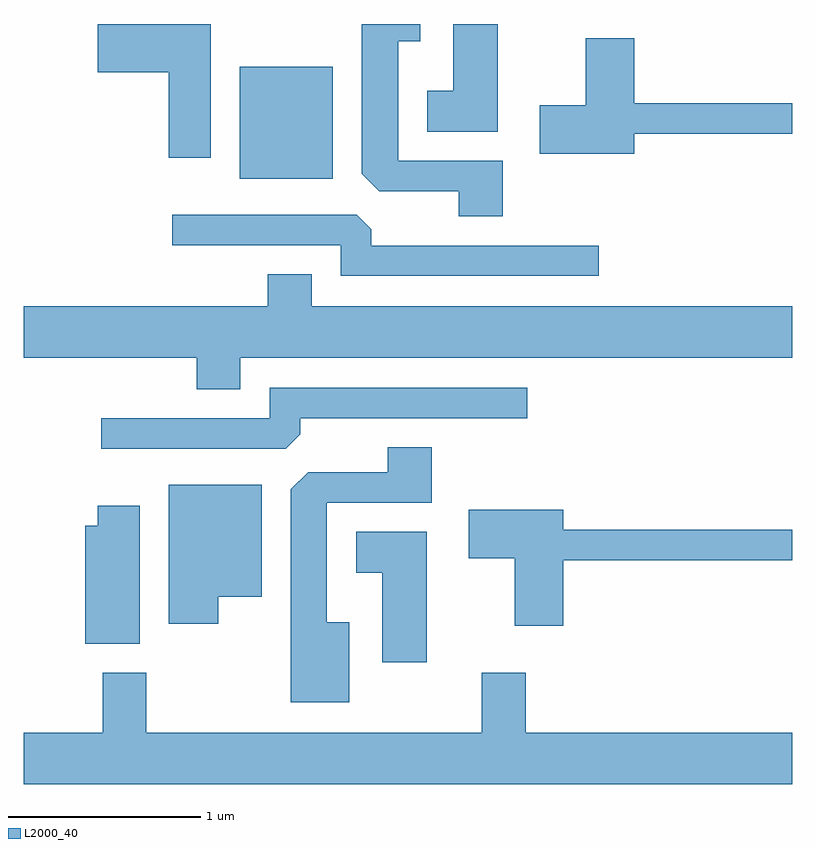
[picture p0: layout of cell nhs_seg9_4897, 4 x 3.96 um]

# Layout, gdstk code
import gdstk
lib = gdstk.Library(unit=1e-6, precision=1e-09)
def R(c, l, rs):  # rectangles x0, y0, x1, y1
    for r in rs: c.add(gdstk.rectangle(r[:2], r[2:], *l))
def P(c, l, *ps):  # polygons
    for p in ps: c.add(gdstk.Polygon(p, *l))
L2000_40 = (2000, 40)

nhs_seg9_4897 = lib.new_cell('nhs_seg9_4897')
R(nhs_seg9_4897, L2000_40, [(330.736,2001.626,331.219,2002.209)])
P(nhs_seg9_4897, L2000_40, [(330.584,2002.432),(329.996,2002.432),(329.996,2002.181),(330.366,2002.181),(330.366,2001.736),(330.584,2001.736)],
  [(332.079,2002.432),(331.846,2002.432),(331.846,2002.084),(331.711,2002.084),(331.711,2001.871),(332.079,2001.871)],
  [(332.104,2001.719),(331.559,2001.719),(331.559,2002.341),(331.674,2002.341),(331.674,2002.432),(331.371,2002.432),(331.371,2001.652),(331.462,2001.561),(331.876,2001.561),(331.876,2001.431),(332.104,2001.431)],
  [(332.789,2001.861),(333.611,2001.861),(333.611,2002.019),(332.789,2002.019),(332.789,2002.359),(332.536,2002.359),(332.536,2002.009),(332.296,2002.009),(332.296,2001.756),(332.789,2001.756)],
  [(332.603,2001.279),(331.419,2001.279),(331.419,2001.364),(331.344,2001.439),(330.383,2001.439),(330.383,2001.281),(331.261,2001.281),(331.261,2001.121),(332.603,2001.121)],
  [(330.739,2000.696),(333.611,2000.696),(333.611,2000.964),(331.109,2000.964),(331.109,2001.129),(330.881,2001.129),(330.881,2000.964),(329.611,2000.964),(329.611,2000.696),(330.511,2000.696),(330.511,2000.531),(330.739,2000.531)],
  [(331.049,2000.297),(331.049,2000.381),(332.233,2000.381),(332.233,2000.539),(330.891,2000.539),(330.891,2000.379),(330.013,2000.379),(330.013,2000.221),(330.974,2000.221)],
  [(331.304,1999.319),(331.189,1999.319),(331.189,1999.941),(331.734,1999.941),(331.734,2000.229),(331.506,2000.229),(331.506,2000.099),(331.092,2000.099),(331.001,2000.009),(331.001,1998.901),(331.304,1998.901)],
  [(330.624,1999.451),(330.849,1999.451),(330.849,2000.034),(330.366,2000.034),(330.366,1999.311),(330.624,1999.311)],
  [(330.214,1999.924),(329.996,1999.924),(329.996,1999.819),(329.931,1999.819),(329.931,1999.206),(330.214,1999.206)],
  [(332.419,1999.641),(333.611,1999.641),(333.611,1999.799),(332.419,1999.799),(332.419,1999.904),(331.926,1999.904),(331.926,1999.651),(332.166,1999.651),(332.166,1999.301),(332.419,1999.301)],
  [(331.709,1999.789),(331.341,1999.789),(331.341,1999.576),(331.476,1999.576),(331.476,1999.111),(331.709,1999.111)],
  [(333.611,1998.744),(332.224,1998.744),(332.224,1999.054),(331.996,1999.054),(331.996,1998.744),(330.249,1998.744),(330.249,1999.054),(330.021,1999.054),(330.021,1998.744),(329.611,1998.744),(329.611,1998.476),(333.611,1998.476)])

lib.write_gds('nhs_seg9_4897.gds')
